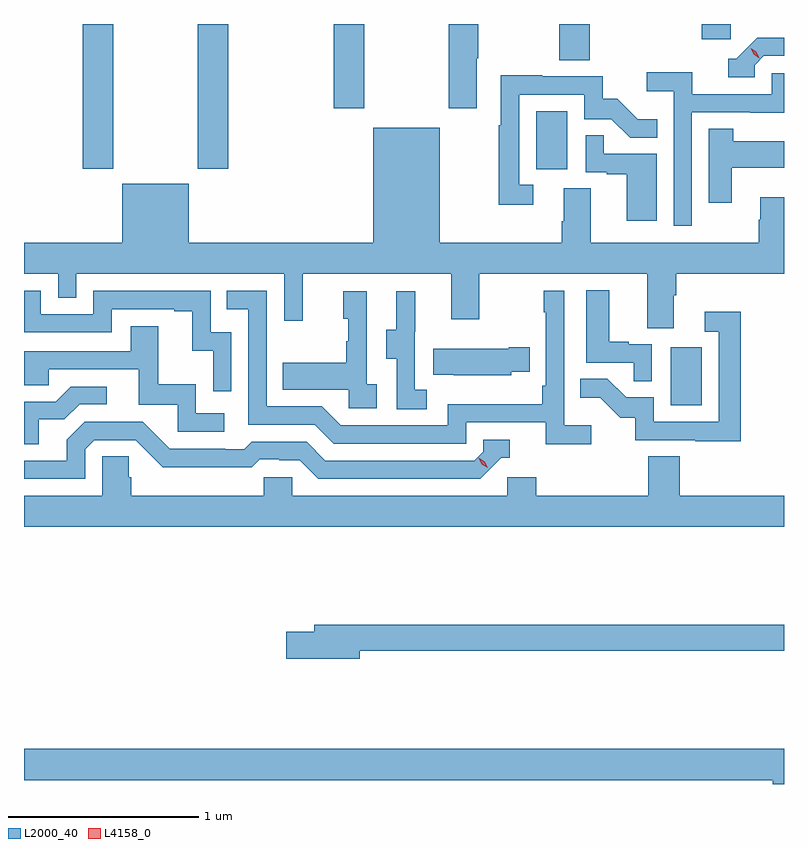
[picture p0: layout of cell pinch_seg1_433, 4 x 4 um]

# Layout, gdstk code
import gdstk
lib = gdstk.Library(unit=1e-6, precision=1e-09)
def R(c, l, rs):  # rectangles x0, y0, x1, y1
    for r in rs: c.add(gdstk.rectangle(r[:2], r[2:], *l))
def P(c, l, *ps):  # polygons
    for p in ps: c.add(gdstk.Polygon(p, *l))
L2000_40 = (2000, 40)
L4158_0 = (4158, 0)

pinch_seg1_433 = lib.new_cell('pinch_seg1_433')
R(pinch_seg1_433, L2000_40, [(948.134,523.068,948.298,523.375), (947.426,524.31,947.59,524.617), (945.041,524.313,945.201,525.075), (945.646,524.313,945.806,525.075), (946.361,524.631,946.521,525.075), (947.548,524.884,947.708,525.075), (948.299,524.994,948.45,525.075)])
P(pinch_seg1_433, L2000_40, [(947.113,524.896),(947.121,524.896),(947.121,525.075),(946.966,525.075),(946.966,524.631),(947.113,524.631)],
  [(948.576,524.859),(948.624,524.907),(948.731,524.907),(948.731,525.003),(948.591,525.003),(948.48,524.892),(948.437,524.892),(948.437,524.796),(948.576,524.796)],
  [(948.246,524.61),(948.553,524.61),(948.553,524.609),(948.731,524.609),(948.731,524.817),(948.666,524.817),(948.666,524.706),(948.248,524.706),(948.248,524.822),(948.009,524.822),(948.009,524.72),(948.15,524.72),(948.15,524.013),(948.246,524.013)],
  [(947.41,524.229),(947.337,524.229),(947.337,524.703),(947.679,524.703),(947.679,524.574),(947.823,524.574),(947.921,524.476),(948.065,524.476),(948.065,524.575),(947.961,524.575),(947.854,524.682),(947.778,524.682),(947.778,524.799),(947.459,524.799),(947.459,524.804),(947.241,524.804),(947.241,524.543),(947.229,524.543),(947.229,524.124),(947.41,524.124)],
  [(946.918,524.53),(946.568,524.53),(946.568,523.924),(945.598,523.924),(945.598,524.233),(945.248,524.233),(945.248,523.924),(944.731,523.924),(944.731,523.76),(944.91,523.76),(944.91,523.633),(945.006,523.633),(945.006,523.76),(946.101,523.76),(946.101,523.512),(946.199,523.512),(946.199,523.76),(946.979,523.76),(946.979,523.52),(947.127,523.52),(947.127,523.76),(948.011,523.76),(948.011,523.474),(948.151,523.474),(948.151,523.648),(948.164,523.648),(948.164,523.76),(948.731,523.76),(948.731,524.164),(948.605,524.164),(948.605,524.045),(948.598,524.045),(948.598,523.924),(947.713,523.924),(947.713,524.21),(947.573,524.21),(947.573,524.036),(947.561,524.036),(947.561,523.924),(946.918,523.924)],
  [(948.457,524.318),(948.731,524.318),(948.731,524.458),(948.465,524.458),(948.465,524.525),(948.335,524.525),(948.335,524.133),(948.457,524.133)],
  [(948.061,524.391),(947.783,524.391),(947.783,524.489),(947.688,524.489),(947.688,524.295),(947.799,524.295),(947.799,524.283),(947.903,524.283),(947.903,524.04),(948.061,524.04)],
  [(948.036,523.389),(947.915,523.389),(947.915,523.402),(947.812,523.402),(947.812,523.675),(947.69,523.675),(947.69,523.293),(947.941,523.293),(947.941,523.195),(948.036,523.195)],
  [(947.716,522.964),(947.574,522.964),(947.574,523.672),(947.466,523.672),(947.466,523.559),(947.478,523.559),(947.478,523.171),(947.458,523.171),(947.458,523.075),(946.962,523.075),(946.962,522.963),(946.398,522.963),(946.299,523.062),(946.008,523.062),(946.008,523.671),(945.799,523.671),(945.799,523.575),(945.912,523.575),(945.912,522.966),(946.262,522.966),(946.361,522.867),(947.058,522.867),(947.058,522.978),(947.477,522.978),(947.477,522.862),(947.716,522.862)],
  [(945.822,523.452),(945.714,523.452),(945.714,523.671),(945.096,523.671),(945.096,523.548),(944.82,523.548),(944.82,523.671),(944.731,523.671),(944.731,523.452),(945.192,523.452),(945.192,523.575),(945.521,523.575),(945.521,523.563),(945.617,523.563),(945.617,523.355),(945.726,523.355),(945.726,523.143),(945.822,523.143)],
  [(946.588,523.178),(946.536,523.178),(946.536,523.669),(946.412,523.669),(946.412,523.524),(946.438,523.524),(946.438,523.406),(946.428,523.406),(946.428,523.291),(946.093,523.291),(946.093,523.151),(946.44,523.151),(946.44,523.053),(946.588,523.053)],
  [(946.852,523.151),(946.788,523.151),(946.788,523.455),(946.79,523.455),(946.79,523.669),(946.691,523.669),(946.691,523.467),(946.637,523.467),(946.637,523.312),(946.692,523.312),(946.692,523.048),(946.852,523.048)],
  [(948.503,523.561),(948.315,523.561),(948.315,523.455),(948.387,523.455),(948.387,522.981),(948.045,522.981),(948.045,523.11),(947.9,523.11),(947.802,523.208),(947.659,523.208),(947.659,523.109),(947.763,523.109),(947.87,523.002),(947.947,523.002),(947.947,522.885),(948.265,522.885),(948.265,522.88),(948.503,522.88)],
  [(945.784,523.026),(945.636,523.026),(945.636,523.18),(945.437,523.18),(945.437,523.483),(945.293,523.483),(945.293,523.353),(944.731,523.353),(944.731,523.173),(944.861,523.173),(944.861,523.257),(945.335,523.257),(945.335,523.071),(945.54,523.071),(945.54,522.93),(945.784,522.93)],
  [(947.295,523.244),(947.393,523.244),(947.393,523.374),(947.282,523.374),(947.282,523.366),(946.885,523.366),(946.885,523.229),(946.993,523.229),(946.993,523.226),(947.295,523.226)],
  [(944.809,522.994),(944.944,522.994),(945.024,523.074),(945.166,523.074),(945.166,523.167),(944.978,523.167),(944.897,523.086),(944.731,523.086),(944.731,522.862),(944.809,522.862)],
  [(945.054,522.837),(945.102,522.885),(945.318,522.885),(945.46,522.743),(945.696,522.743),(945.696,522.741),(945.929,522.741),(945.971,522.783),(946.074,522.783),(946.074,522.78),(946.181,522.78),(946.28,522.681),(947.133,522.681),(947.244,522.792),(947.287,522.792),(947.287,522.888),(947.148,522.888),(947.148,522.825),(947.1,522.777),(946.317,522.777),(946.218,522.876),(945.929,522.876),(945.89,522.837),(945.791,522.837),(945.791,522.84),(945.498,522.84),(945.357,522.981),(945.051,522.981),(944.957,522.887),(944.957,522.777),(944.731,522.777),(944.731,522.681),(945.054,522.681)],
  [(948.731,522.592),(948.182,522.592),(948.182,522.8),(948.017,522.8),(948.017,522.592),(947.426,522.592),(947.426,522.69),(947.274,522.69),(947.274,522.592),(946.143,522.592),(946.143,522.69),(945.993,522.69),(945.993,522.592),(945.296,522.592),(945.296,522.69),(945.281,522.69),(945.281,522.8),(945.144,522.8),(945.144,522.592),(944.731,522.592),(944.731,522.428),(948.731,522.428)],
  [(946.498,521.776),(948.731,521.776),(948.731,521.912),(946.259,521.912),(946.259,521.876),(946.11,521.876),(946.11,521.734),(946.498,521.734)],
  [(948.731,521.26),(944.731,521.26),(944.731,521.096),(948.671,521.096),(948.671,521.075),(948.731,521.075)])
P(pinch_seg1_433, L4158_0, [(948.602,524.895),(948.571,524.915),(948.556,524.947),(948.556,524.948),(948.556,524.948),(948.586,524.928),(948.602,524.895),(948.602,524.895)],
  [(947.172,522.74),(947.141,522.759),(947.124,522.791),(947.124,522.792),(947.124,522.792),(947.156,522.772),(947.172,522.74),(947.172,522.74)])

lib.write_gds('pinch_seg1_433.gds')
